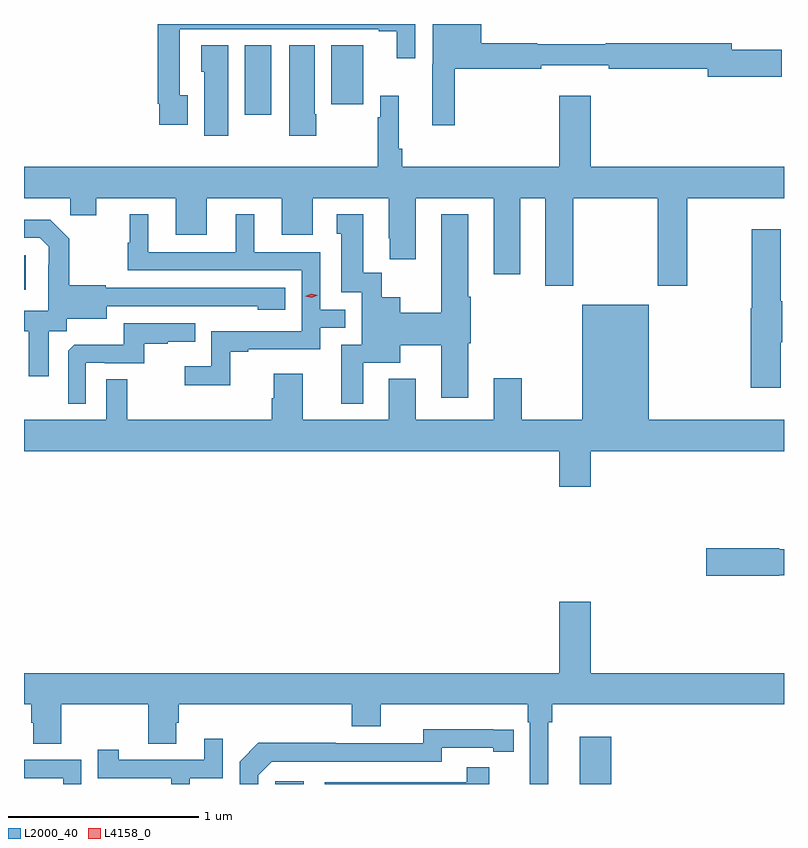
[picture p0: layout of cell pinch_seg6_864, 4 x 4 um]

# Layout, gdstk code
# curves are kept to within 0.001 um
import gdstk
lib = gdstk.Library(unit=1e-6, precision=1e-09)
def R(c, l, rs):  # rectangles x0, y0, x1, y1
    for r in rs: c.add(gdstk.rectangle(r[:2], r[2:], *l))
def P(c, l, *ps):  # polygons
    for p in ps: c.add(gdstk.Polygon(p, *l))
L2000_40 = (2000, 40)
L4158_0 = (4158, 0)

pinch_seg6_864 = lib.new_cell('pinch_seg6_864')
R(pinch_seg6_864, L2000_40, [(235.44,937.592,235.591,937.606), (237.044,937.592,237.208,937.84), (234.118,940.194,234.127,940.374), (235.28,941.115,235.42,941.48), (235.736,941.169,235.903,941.48)])
P(pinch_seg6_864, L2000_40, [(236.384,941.356),(236.84,941.356),(236.84,941.375),(237.196,941.375),(237.196,941.356),(237.716,941.356),(237.716,941.314),(238.105,941.314),(238.105,941.456),(237.844,941.456),(237.844,941.492),(237.18,941.492),(237.18,941.485),(236.82,941.485),(236.82,941.492),(236.524,941.492),(236.524,941.592),(236.268,941.592),(236.268,941.379),(236.267,941.379),(236.267,941.058),(236.384,941.058)],
  [(234.979,941.217),(234.939,941.217),(234.939,941.565),(235.985,941.565),(235.985,941.553),(236.081,941.553),(236.081,941.412),(236.178,941.412),(236.178,941.592),(234.823,941.592),(234.823,941.173),(234.831,941.173),(234.831,941.061),(234.979,941.061)],
  [(235.192,941.48),(235.052,941.48),(235.052,941.34),(235.067,941.34),(235.067,941.004),(235.192,941.004)],
  [(235.656,941.116),(235.648,941.116),(235.648,941.48),(235.514,941.48),(235.514,941.004),(235.656,941.004)],
  [(237.009,940.676),(237.454,940.676),(237.454,940.215),(237.609,940.215),(237.609,940.676),(238.118,940.676),(238.118,940.84),(237.1,940.84),(237.1,941.215),(236.936,941.215),(236.936,940.84),(236.108,940.84),(236.108,940.936),(236.09,940.936),(236.09,941.215),(235.992,941.215),(235.992,941.102),(235.98,941.102),(235.98,940.84),(234.118,940.84),(234.118,940.676),(234.361,940.676),(234.361,940.586),(234.499,940.586),(234.499,940.676),(234.917,940.676),(234.917,940.482),(235.081,940.482),(235.081,940.676),(235.475,940.676),(235.475,940.482),(235.639,940.482),(235.639,940.676),(236.039,940.676),(236.039,940.465),(236.042,940.465),(236.042,940.353),(236.179,940.353),(236.179,940.676),(236.591,940.676),(236.591,940.275),(236.731,940.275),(236.731,940.676),(236.861,940.676),(236.861,940.215),(237.009,940.215)],
  [(235.203,939.867),(235.297,939.867),(235.297,939.879),(235.677,939.879),(235.677,939.993),(235.81,939.993),(235.81,940.089),(235.677,940.089),(235.677,940.392),(235.33,940.392),(235.33,940.591),(235.232,940.591),(235.232,940.392),(234.772,940.392),(234.772,940.591),(234.674,940.591),(234.674,940.44),(234.663,940.44),(234.663,940.296),(235.581,940.296),(235.581,939.975),(235.104,939.975),(235.104,939.79),(234.963,939.79),(234.963,939.692),(235.203,939.692)],
  [(235.903,939.809),(236.098,939.809),(236.098,939.901),(236.315,939.901),(236.315,939.624),(236.455,939.624),(236.455,939.912),(236.468,939.912),(236.468,940.156),(236.455,940.156),(236.455,940.591),(236.315,940.591),(236.315,940.073),(236.098,940.073),(236.098,940.153),(236.001,940.153),(236.001,940.283),(235.903,940.283),(235.903,940.591),(235.763,940.591),(235.763,940.488),(235.787,940.488),(235.787,940.179),(235.896,940.179),(235.896,939.903),(235.787,939.903),(235.787,939.594),(235.903,939.594)],
  [(234.247,939.976),(234.342,939.976),(234.342,940.04),(234.553,940.04),(234.553,940.107),(235.347,940.106),(235.347,940.088),(235.492,940.088),(235.492,940.203),(234.549,940.203),(234.549,940.216),(234.357,940.216),(234.357,940.461),(234.257,940.561),(234.118,940.561),(234.118,940.467),(234.201,940.467),(234.248,940.42),(234.248,940.325),(234.246,940.325),(234.246,940.084),(234.118,940.084),(234.118,939.974),(234.143,939.974),(234.143,939.738),(234.247,939.738)],
  [(238.102,939.916),(238.11,939.916),(238.11,940.133),(238.102,940.133),(238.102,940.513),(237.949,940.513),(237.949,940.095),(237.944,940.095),(237.944,939.678),(238.102,939.678)],
  [(237.1,939.344),(238.118,939.344),(238.118,939.508),(237.406,939.508),(237.406,940.114),(237.056,940.114),(237.056,939.508),(236.739,939.508),(236.739,939.727),(236.591,939.727),(236.591,939.508),(236.179,939.508),(236.179,939.724),(236.039,939.724),(236.039,939.508),(235.585,939.508),(235.585,939.751),(235.433,939.751),(235.433,939.621),(235.421,939.621),(235.421,939.508),(234.661,939.508),(234.661,939.722),(234.552,939.722),(234.552,939.508),(234.118,939.508),(234.118,939.344),(236.936,939.344),(236.936,939.156),(237.1,939.156)],
  [(234.444,939.81),(234.544,939.81),(234.544,939.807),(234.752,939.807),(234.752,939.909),(234.875,939.909),(234.875,939.92),(235.019,939.92),(235.019,940.017),(234.642,940.017),(234.642,939.905),(234.383,939.905),(234.351,939.873),(234.351,939.593),(234.444,939.593)],
  [(238.092,938.692),(238.118,938.692),(238.118,938.828),(238.092,938.828),(238.092,938.834),(237.708,938.834),(237.708,938.687),(238.092,938.687)],
  [(236.878,937.916),(236.897,937.916),(236.897,938.012),(238.118,938.012),(238.118,938.176),(237.1,938.176),(237.1,938.551),(236.936,938.551),(236.936,938.176),(234.118,938.176),(234.118,938.012),(234.155,938.012),(234.155,937.914),(234.167,937.914),(234.167,937.804),(234.315,937.804),(234.315,938.012),(234.772,938.012),(234.772,937.804),(234.919,937.804),(234.919,937.914),(234.932,937.914),(234.932,938.012),(235.844,938.012),(235.844,937.895),(235.996,937.895),(235.996,938.012),(236.768,938.012),(236.768,937.916),(236.781,937.916),(236.781,937.592),(236.878,937.592)],
  [(235.35,937.638),(235.422,937.71),(236.316,937.71),(236.316,937.782),(236.588,937.782),(236.588,937.762),(236.696,937.762),(236.696,937.878),(236.22,937.879),(236.22,937.806),(235.76,937.806),(235.76,937.808),(235.352,937.808),(235.254,937.71),(235.254,937.592),(235.35,937.592)],
  [(234.99,937.623),(235.164,937.623),(235.164,937.831),(235.067,937.831),(235.067,937.719),(234.616,937.719),(234.616,937.771),(234.505,937.771),(234.505,937.623),(234.894,937.623),(234.894,937.592),(234.99,937.592)],
  [(234.42,937.719),(234.118,937.719),(234.118,937.623),(234.324,937.623),(234.324,937.592),(234.42,937.592)],
  [(236.567,937.681),(236.449,937.681),(236.449,937.602),(235.701,937.602),(235.701,937.592),(236.567,937.592)])
P(pinch_seg6_864, L4158_0, [(235.632,940.152),(235.597,940.16),(235.596,940.16),(235.597,940.16),(235.63,940.172),(235.665,940.165),(235.665,940.165),(235.665,940.165)])

lib.write_gds('pinch_seg6_864.gds')
